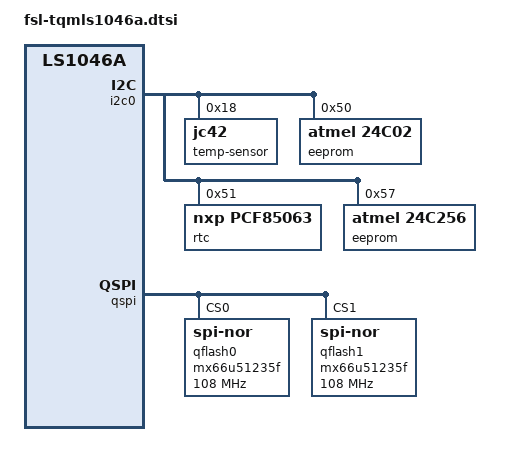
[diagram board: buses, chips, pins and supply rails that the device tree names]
// SPDX-License-Identifier: (GPL-2.0+ OR MIT)
/*
 * Device Tree Include file for LS1046A based SoM of TQ
 *
 * Copyright 2018 TQ-Systems GmbH
 */

#include <arm64/freescale/fsl-ls1046a.dtsi>

&i2c0 {
	status = "okay";

	temp-sensor@18 {
		compatible = "jc42";
		reg = <0x18>;
	};

	eeprom@50 {
		compatible = "atmel,24c02";
		reg = <0x50>;
	};

	rtc@51 {
		compatible = "nxp,pcf85063";
		reg = <0x51>;
	};

	eeprom@57 {
		compatible = "atmel,24c256";
		reg = <0x57>;
	};
};

&qspi {
	num-cs = <2>;
	bus-num = <0>;
	status = "okay";

	qflash0: mx66u51235f@0 {
		#address-cells = <1>;
		#size-cells = <1>;
		compatible = "jedec,spi-nor";
		spi-max-frequency = <108000000>;
		reg = <0>;
	};

	qflash1: mx66u51235f@1 {
		#address-cells = <1>;
		#size-cells = <1>;
		spi-max-frequency = <108000000>;
		compatible = "jedec,spi-nor";
		reg = <1>;
	};
};
